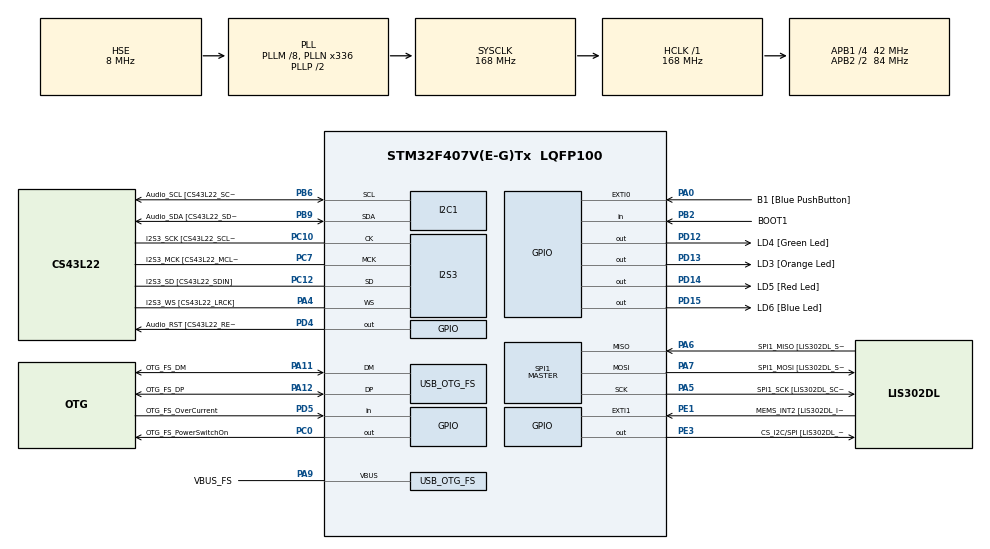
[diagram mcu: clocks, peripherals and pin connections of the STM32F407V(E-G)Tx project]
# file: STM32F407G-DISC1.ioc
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I2S3.AudioFreq-Half_Duplex_Master=I2S_AUDIOFREQ_96K
I2S3.ErrorAudioFreq=-2.34 %
I2S3.ErrorAudioFreq-Half_Duplex_Master=0.8 %
I2S3.FullDuplexMode=I2S_FULLDUPLEXMODE_DISABLE
I2S3.Instance=SPI$Index
I2S3.RealAudioFreq=93.75 KHz
I2S3.RealAudioFreq-Half_Duplex_Master=96.774 KHz
I2S3.VirtualMode=I2S_MODE_MASTER
Mcu.Family=STM32F4
Mcu.Name=STM32F407V(E-G)Tx
Mcu.Package=LQFP100
NVIC.OTG_FS_IRQn=true\:0\:0\:false\:false\:true\:true\:true\:true
NVIC.PriorityGroup=NVIC_PRIORITYGROUP_0
PA0-WKUP.GPIO_Label=B1 [Blue PushButton]
PA0-WKUP.GPIO_ModeDefaultEXTI=GPIO_MODE_EVT_RISING
PA0-WKUP.GPIO_PuPd=GPIO_NOPULL
PA0-WKUP.Signal=GPXTI0
PA10.GPIO_Label=OTG_FS_ID
PA10.GPIO_Mode=GPIO_MODE_AF_PP
PA10.GPIO_PuPd=GPIO_NOPULL
PA10.GPIO_Speed=GPIO_SPEED_FREQ_LOW
PA10.Signal=USB_OTG_FS_ID
PA11.GPIO_Label=OTG_FS_DM
PA11.GPIO_Mode=GPIO_MODE_AF_PP
PA11.GPIO_PuPd=GPIO_NOPULL
PA11.GPIO_Speed=GPIO_SPEED_FREQ_LOW
PA11.Mode=Device_Only
PA11.Signal=USB_OTG_FS_DM
PA12.GPIO_Label=OTG_FS_DP
PA12.GPIO_Mode=GPIO_MODE_AF_PP
PA12.GPIO_PuPd=GPIO_NOPULL
PA12.GPIO_Speed=GPIO_SPEED_FREQ_LOW
PA12.Mode=Device_Only
PA12.Signal=USB_OTG_FS_DP
PA13.GPIO_Label=SWDIO
PA13.Mode=Serial_Wire
PA13.Signal=SYS_JTMS-SWDIO
PA14.GPIO_Label=SWCLK
PA14.Mode=Serial_Wire
PA14.Signal=SYS_JTCK-SWCLK
PA4.GPIO_Label=I2S3_WS [CS43L22_LRCK]
PA4.GPIO_Mode=GPIO_MODE_AF_PP
PA4.GPIO_PuPd=GPIO_NOPULL
PA4.GPIO_Speed=GPIO_SPEED_FREQ_LOW
PA4.Mode=Half_Duplex_Master
PA4.Signal=I2S3_WS
PA5.GPIO_Label=SPI1_SCK [LIS302DL_SCL/SPC]
PA5.GPIO_Mode=GPIO_MODE_AF_PP
PA5.GPIO_PuPd=GPIO_NOPULL
PA5.GPIO_Speed=GPIO_SPEED_FREQ_LOW
PA5.Mode=Full_Duplex_Master
PA5.Signal=SPI1_SCK
PA6.GPIO_Label=SPI1_MISO [LIS302DL_SDO]
PA6.GPIO_Mode=GPIO_MODE_AF_PP
PA6.GPIO_PuPd=GPIO_NOPULL
PA6.GPIO_Speed=GPIO_SPEED_FREQ_LOW
PA6.Mode=Full_Duplex_Master
PA6.Signal=SPI1_MISO
PA7.GPIO_Label=SPI1_MOSI [LIS302DL_SDA/SDI/SDO]
PA7.GPIO_Mode=GPIO_MODE_AF_PP
PA7.GPIO_PuPd=GPIO_NOPULL
PA7.GPIO_Speed=GPIO_SPEED_FREQ_LOW
PA7.Mode=Full_Duplex_Master
PA7.Signal=SPI1_MOSI
PA9.GPIO_Label=VBUS_FS
PA9.GPIO_Mode=GPIO_MODE_INPUT
PA9.GPIO_PuPd=GPIO_NOPULL
PA9.Mode=Activate_VBUS
PA9.Signal=USB_OTG_FS_VBUS
PB10.GPIO_Label=CLK_IN [MP45DT02_CLK]
PB10.GPIO_Mode=GPIO_MODE_AF_PP
PB10.GPIO_PuPd=GPIO_NOPULL
PB10.GPIO_Speed=GPIO_SPEED_FREQ_LOW
PB10.Signal=I2S2_CK
PB2.GPIO_Label=BOOT1
PB2.GPIO_Mode=GPIO_MODE_INPUT
PB2.GPIO_PuPd=GPIO_NOPULL
PB2.Signal=GPIO_Input
PB3.GPIO_Label=SWO
PB3.Signal=SYS_JTDO-SWO
PB6.GPIO_Label=Audio_SCL [CS43L22_SCL]
PB6.GPIO_Mode=GPIO_MODE_AF_OD
PB6.GPIO_Pu=GPIO_PULLUP
PB6.GPIO_PuPd=GPIO_NOPULL
PB6.GPIO_Speed=GPIO_SPEED_FREQ_LOW
PB6.Mode=I2C
PB6.Signal=I2C1_SCL
PB9.GPIO_Label=Audio_SDA [CS43L22_SDA]
PB9.GPIO_Mode=GPIO_MODE_AF_OD
PB9.GPIO_Pu=GPIO_PULLUP
PB9.GPIO_PuPd=GPIO_NOPULL
PB9.GPIO_Speed=GPIO_SPEED_FREQ_LOW
PB9.Mode=I2C
PB9.Signal=I2C1_SDA
PC0.GPIO_Label=OTG_FS_PowerSwitchOn
PC0.GPIO_PuPd=GPIO_NOPULL
PC0.GPIO_Speed=GPIO_SPEED_FREQ_LOW
PC0.PinState=GPIO_PIN_SET
PC0.Signal=GPIO_Output
PC10.GPIO_Label=I2S3_SCK [CS43L22_SCLK]
PC10.GPIO_Mode=GPIO_MODE_AF_PP
PC10.GPIO_PuPd=GPIO_NOPULL
PC10.GPIO_Speed=GPIO_SPEED_FREQ_LOW
PC10.Mode=Half_Duplex_Master
PC10.Signal=I2S3_CK
PC12.GPIO_Label=I2S3_SD [CS43L22_SDIN]
PC12.GPIO_Mode=GPIO_MODE_AF_PP
PC12.GPIO_PuPd=GPIO_NOPULL
PC12.GPIO_Speed=GPIO_SPEED_FREQ_LOW
PC12.Mode=Half_Duplex_Master
PC12.Signal=I2S3_SD
PC14-OSC32_IN.GPIO_Label=PC14-OSC32_IN
PC14-OSC32_IN.Mode=LSE-External-Oscillator
PC14-OSC32_IN.Signal=RCC_OSC32_IN
PC15-OSC32_OUT.GPIO_Label=PC15-OSC32_OUT
PC15-OSC32_OUT.Mode=LSE-External-Oscillator
PC15-OSC32_OUT.Signal=RCC_OSC32_OUT
PC3.GPIO_Label=PDM_OUT [MP45DT02_DOUT]
PC3.GPIO_Mode=GPIO_MODE_AF_PP
PC3.GPIO_PuPd=GPIO_NOPULL
PC3.GPIO_Speed=GPIO_SPEED_FREQ_LOW
PC3.Signal=I2S2_SD
PC7.GPIO_Label=I2S3_MCK [CS43L22_MCLK]
PC7.GPIO_Mode=GPIO_MODE_AF_PP
PC7.GPIO_PuPd=GPIO_NOPULL
PC7.GPIO_Speed=GPIO_SPEED_FREQ_LOW
PC7.Mode=Master_Clock_Activated
PC7.Signal=I2S3_MCK
PD12.GPIO_Label=LD4 [Green Led]
PD12.GPIO_PuPd=GPIO_NOPULL
PD12.GPIO_Speed=GPIO_SPEED_FREQ_LOW
PD12.Signal=GPIO_Output
PD13.GPIO_Label=LD3 [Orange Led]
PD13.GPIO_PuPd=GPIO_NOPULL
PD13.GPIO_Speed=GPIO_SPEED_FREQ_LOW
PD13.Signal=GPIO_Output
PD14.GPIO_Label=LD5 [Red Led]
PD14.GPIO_PuPd=GPIO_NOPULL
PD14.GPIO_Speed=GPIO_SPEED_FREQ_LOW
PD14.Signal=GPIO_Output
PD15.GPIO_Label=LD6 [Blue Led]
PD15.GPIO_PuPd=GPIO_NOPULL
PD15.GPIO_Speed=GPIO_SPEED_FREQ_LOW
PD15.Signal=GPIO_Output
PD4.GPIO_Label=Audio_RST [CS43L22_RESET]
PD4.GPIO_PuPd=GPIO_NOPULL
PD4.GPIO_Speed=GPIO_SPEED_FREQ_LOW
PD4.Signal=GPIO_Output
PD5.GPIO_Label=OTG_FS_OverCurrent
PD5.GPIO_Mode=GPIO_MODE_INPUT
PD5.GPIO_PuPd=GPIO_NOPULL
PD5.Signal=GPIO_Input
PE1.GPIO_Label=MEMS_INT2 [LIS302DL_INT2]
PE1.GPIO_ModeDefaultEXTI=GPIO_MODE_EVT_RISING
PE1.GPIO_PuPd=GPIO_NOPULL
PE1.Signal=GPXTI1
PE3.GPIO_Label=CS_I2C/SPI [LIS302DL_CS_I2C/SPI]
PE3.GPIO_PuPd=GPIO_NOPULL
PE3.GPIO_Speed=GPIO_SPEED_FREQ_LOW
PE3.Signal=GPIO_Output
PH0-OSC_IN.GPIO_Label=PH0-OSC_IN
PH0-OSC_IN.Mode=HSE-External-Oscillator
PH0-OSC_IN.Signal=RCC_OSC_IN
PH1-OSC_OUT.GPIO_Label=PH1-OSC_OUT
PH1-OSC_OUT.Mode=HSE-External-Oscillator
PH1-OSC_OUT.Signal=RCC_OSC_OUT
ProjectManager.HeapSize=0x800
ProjectManager.StackSize=0x800
ProjectManager.TargetToolchain=STM32CubeIDE
RCC.48MHZClocksFreq_Value=48000000
RCC.AHBFreq_Value=168000000
RCC.APB1CLKDivider=RCC_HCLK_DIV4
RCC.APB1Freq_Value=42000000
RCC.APB1TimFreq_Value=84000000
RCC.APB2CLKDivider=RCC_HCLK_DIV2
RCC.APB2Freq_Value=84000000
RCC.APB2TimFreq_Value=168000000
RCC.CortexFreq_Value=168000000
RCC.HCLKFreq_Value=168000000
RCC.HSE_VALUE=8000000
RCC.HSI_VALUE=16000000
RCC.PLLM=8
RCC.PLLN=336
RCC.PLLQ=7
RCC.SYSCLKFreq_VALUE=168000000
RCC.SYSCLKSource=RCC_SYSCLKSOURCE_PLLCLK
RCC.VCOOutputFreq_Value=336000000
SPI1.BaudRatePrescaler-Full_Duplex_Master=SPI_BAUDRATEPRESCALER_2
SPI1.CalculateBaudRate-Full_Duplex_Master=42.0 MBits/s
SPI1.Direction=SPI_DIRECTION_2LINES
SPI1.Mode=SPI_MODE_MASTER
SPI1.Mode-Full_Duplex_Master=SPI_MODE_MASTER
SPI1.VirtualType=VM_MASTER
STMicroelectronics.X-CUBE-AI.10.2.0.ActivationBufferSizeList=13644
STMicroelectronics.X-CUBE-AI.10.2.0.ActivationBuffers=pool0
STMicroelectronics.X-CUBE-AI.10.2.0.ActivationNames=pool0
STMicroelectronics.X-CUBE-AI.10.2.0.ActivationSizes=AI_NETWORK_DATA_ACTIVATION_1_SIZE
STMicroelectronics.X-CUBE-AI.10.2.0.ApplicationCcDeviceJjApplication=ApplicationTemplate
STMicroelectronics.X-CUBE-AI.10.2.0.HeapSize=0x800
STMicroelectronics.X-CUBE-AI.10.2.0.InternalRamActivationBufferMaxSize=AI_NETWORK_DATA_ACTIVATIONS_SIZE
STMicroelectronics.X-CUBE-AI.10.2.0.LatestDirectoryUsed-3c5e1537dc4c7721583cbdc52182f0bd7a8b2e4c3dacaed0488b9b9b9975361b=C\:\\Users\\Ahmad\\Downloads
STMicroelectronics.X-CUBE-AI.10.2.0.MaximumNumberOfInputLayer=1
STMicroelectronics.X-CUBE-AI.10.2.0.MaximumNumberOfOutputLayer=1
STMicroelectronics.X-CUBE-AI.10.2.0.MaximumSizeOfInputLayer=1
STMicroelectronics.X-CUBE-AI.10.2.0.MaximumSizeOfOutputLayer=1
STMicroelectronics.X-CUBE-AI.10.2.0.ModelActualCompression-3c5e1537dc4c7721583cbdc52182f0bd7a8b2e4c3dacaed0488b9b9b9975361b=0.0
STMicroelectronics.X-CUBE-AI.10.2.0.ModelCompression-3c5e1537dc4c7721583cbdc52182f0bd7a8b2e4c3dacaed0488b9b9b9975361b=None
STMicroelectronics.X-CUBE-AI.10.2.0.ModelFlashOccupation-3c5e1537dc4c7721583cbdc52182f0bd7a8b2e4c3dacaed0488b9b9b9975361b=95368
STMicroelectronics.X-CUBE-AI.10.2.0.ModelHashList=3c5e1537dc4c7721583cbdc52182f0bd7a8b2e4c3dacaed0488b9b9b9975361b
STMicroelectronics.X-CUBE-AI.10.2.0.ModelKind-3c5e1537dc4c7721583cbdc52182f0bd7a8b2e4c3dacaed0488b9b9b9975361b=TFLITE
STMicroelectronics.X-CUBE-AI.10.2.0.ModelMacc-3c5e1537dc4c7721583cbdc52182f0bd7a8b2e4c3dacaed0488b9b9b9975361b=101572
STMicroelectronics.X-CUBE-AI.10.2.0.ModelName-3c5e1537dc4c7721583cbdc52182f0bd7a8b2e4c3dacaed0488b9b9b9975361b=network
STMicroelectronics.X-CUBE-AI.10.2.0.ModelRamOccupation-3c5e1537dc4c7721583cbdc52182f0bd7a8b2e4c3dacaed0488b9b9b9975361b=13644
STMicroelectronics.X-CUBE-AI.10.2.0.ModelStructureFile-3c5e1537dc4c7721583cbdc52182f0bd7a8b2e4c3dacaed0488b9b9b9975361b=C\:\\Users\\Ahmad\\Downloads\\MNIST_model_no_optimizations.tflite
STMicroelectronics.X-CUBE-AI.10.2.0.ModelType-3c5e1537dc4c7721583cbdc52182f0bd7a8b2e4c3dacaed0488b9b9b9975361b=STM32Cube.AI MCU runtime
STMicroelectronics.X-CUBE-AI.10.2.0.ReadyForCodeGeneration=true
STMicroelectronics.X-CUBE-AI.10.2.0.StackSize=0x800
STMicroelectronics.X-CUBE-AI.10.2.0.XAaCUBEAaAICcArtificialOoIntelligenceJjCore=true
STMicroelectronics.X-CUBE-AI.10.2.0.copyWeightToRam=false
STMicroelectronics.X-CUBE-AI.10.2.0.customLayerConfigEnabled=false
STMicroelectronics.X-CUBE-AI.10.2.0.noOnnxIoTranspose=false
STMicroelectronics.X-CUBE-AI.10.2.0.useInputAllocation=true
STMicroelectronics.X-CUBE-AI.10.2.0.useOutputAllocation=true
USB_DEVICE.CLASS_NAME_FS=CDC
USB_DEVICE.VirtualMode-CDC_FS=Cdc
USB_DEVICE.VirtualModeFS=Cdc_FS
USB_OTG_FS.VirtualMode=Device_Only
VP_STMicroelectronics.X-CUBE-AI_VS_ArtificialOoIntelligenceJjXAaCUBEAaAI_10.2.0.Mode=ArtificialOoIntelligenceJjXAaCUBEAaAI
VP_STMicroelectronics.X-CUBE-AI_VS_DeviceJjApplication_10.2.0.Mode=DeviceJjApplication
VP_USB_DEVICE_VS_USB_DEVICE_CDC_FS.Mode=CDC_FS
board=STM32F407G-DISC1

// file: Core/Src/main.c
/* USER CODE BEGIN Header */
/**
  ******************************************************************************
  * @file           : main.c
  * @brief          : Main program body
  ******************************************************************************
  * @attention
  *
  * Copyright (c) 2026 STMicroelectronics.
  * All rights reserved.
  *
  * This software is licensed under terms that can be found in the LICENSE file
  * in the root directory of this software component.
  * If no LICENSE file comes with this software, it is provided AS-IS.
  *
  ******************************************************************************
  */
/* USER CODE END Header */
#include "main.h"
#include "app_x-cube-ai.h"
#include "usb_device.h"

/* USER CODE BEGIN Includes */
#include "usb_cdc_handler.hpp"
/* USER CODE END Includes */

I2C_HandleTypeDef hi2c1;

I2S_HandleTypeDef hi2s3;

SPI_HandleTypeDef hspi1;

/* USER CODE BEGIN PV */
volatile bool jump = false;
/* USER CODE END PV */

void SystemClock_Config(void);
static void MX_GPIO_Init(void);
static void MX_I2C1_Init(void);
static void MX_I2S3_Init(void);
static void MX_SPI1_Init(void);

int main(void)
{

  /* MCU Configuration--------------------------------------------------------*/

  /* Reset of all peripherals, Initializes the Flash interface and the Systick. */
  HAL_Init();

  /* Configure the system clock */
  SystemClock_Config();

  /* Initialize all configured peripherals */
  MX_GPIO_Init();
  MX_I2C1_Init();
  MX_I2S3_Init();
  MX_SPI1_Init();
  MX_USB_DEVICE_Init();
  MX_X_CUBE_AI_Init();
  /* USER CODE BEGIN 2 */
  CDC_Proto_Init();

//TODO: Edit handshake logic
  HAL_Delay(5000); //TODO:  Solve the problem of starting the Handshake sooner than  real I/O handshake in master mode
  // Maybe only the host should start the handshake??
  int i = 0;
  CDC_Status_t rc = CDC_OK;
for (i = 0; i < 10; i++) {
	if (jumpRequested) {
		jumpRequested = false;
		CDC_JumpToBootloader();
	}
#ifdef CDC_MASTER_MODE
  rc = CDC_SendHandshake();

#elif defined(CDC_SLAVE_MODE)
  rc = CDC_WaitForHandshake();
#endif
  if (rc == CDC_ERR_TMO)	continue;
  else   break;
}
//TODO: Check
if (i >= 10 || rc != CDC_OK) {
	while (1) {
		HAL_GPIO_TogglePin(GPIOD, GPIO_PIN_12);
		HAL_Delay(500);
	}
}
  CDC_SendDebugString("[APP] STM32F407 CDC data client ready.");
  /* USER CODE END 2 */

  /* Infinite loop */
  /* USER CODE BEGIN WHILE */
  while (1)
  {
	  //TODO: edit jump logic
	  if (jumpRequested) {
		  jumpRequested = false;
		  CDC_JumpToBootloader();
	  }
	  if (end_of_inference) {
			 HAL_GPIO_TogglePin(GPIOD, GPIO_PIN_13);
			 HAL_Delay(500);
			 continue;
	  }
    /* USER CODE END WHILE */

  MX_X_CUBE_AI_Process();
  }
}

void SystemClock_Config(void)
{
  RCC_OscInitTypeDef RCC_OscInitStruct = {0};
  RCC_ClkInitTypeDef RCC_ClkInitStruct = {0};

  /** Configure the main internal regulator output voltage
  */
  __HAL_RCC_PWR_CLK_ENABLE();
  __HAL_PWR_VOLTAGESCALING_CONFIG(PWR_REGULATOR_VOLTAGE_SCALE1);

  /** Initializes the RCC Oscillators according to the specified parameters
  * in the RCC_OscInitTypeDef structure.
  */
  RCC_OscInitStruct.OscillatorType = RCC_OSCILLATORTYPE_HSE;
  RCC_OscInitStruct.HSEState = RCC_HSE_ON;
  RCC_OscInitStruct.PLL.PLLState = RCC_PLL_ON;
  RCC_OscInitStruct.PLL.PLLSource = RCC_PLLSOURCE_HSE;
  RCC_OscInitStruct.PLL.PLLM = 8;
  RCC_OscInitStruct.PLL.PLLN = 336;
  RCC_OscInitStruct.PLL.PLLP = RCC_PLLP_DIV2;
  RCC_OscInitStruct.PLL.PLLQ = 7;
  if (HAL_RCC_OscConfig(&RCC_OscInitStruct) != HAL_OK)
  {
    Error_Handler();
  }

  /** Initializes the CPU, AHB and APB buses clocks
  */
  RCC_ClkInitStruct.ClockType = RCC_CLOCKTYPE_HCLK|RCC_CLOCKTYPE_SYSCLK
                              |RCC_CLOCKTYPE_PCLK1|RCC_CLOCKTYPE_PCLK2;
  RCC_ClkInitStruct.SYSCLKSource = RCC_SYSCLKSOURCE_PLLCLK;
  RCC_ClkInitStruct.AHBCLKDivider = RCC_SYSCLK_DIV1;
  RCC_ClkInitStruct.APB1CLKDivider = RCC_HCLK_DIV4;
  RCC_ClkInitStruct.APB2CLKDivider = RCC_HCLK_DIV2;

  if (HAL_RCC_ClockConfig(&RCC_ClkInitStruct, FLASH_LATENCY_5) != HAL_OK)
  {
    Error_Handler();
  }
}

static void MX_I2C1_Init(void)
{

  hi2c1.Instance = I2C1;
  hi2c1.Init.ClockSpeed = 100000;
  hi2c1.Init.DutyCycle = I2C_DUTYCYCLE_2;
  hi2c1.Init.OwnAddress1 = 0;
  hi2c1.Init.AddressingMode = I2C_ADDRESSINGMODE_7BIT;
  hi2c1.Init.DualAddressMode = I2C_DUALADDRESS_DISABLE;
  hi2c1.Init.OwnAddress2 = 0;
  hi2c1.Init.GeneralCallMode = I2C_GENERALCALL_DISABLE;
  hi2c1.Init.NoStretchMode = I2C_NOSTRETCH_DISABLE;
  if (HAL_I2C_Init(&hi2c1) != HAL_OK)
  {
    Error_Handler();
  }

}

static void MX_I2S3_Init(void)
{

  hi2s3.Instance = SPI3;
  hi2s3.Init.Mode = I2S_MODE_MASTER_TX;
  hi2s3.Init.Standard = I2S_STANDARD_PHILIPS;
  hi2s3.Init.DataFormat = I2S_DATAFORMAT_16B;
  hi2s3.Init.MCLKOutput = I2S_MCLKOUTPUT_ENABLE;
  hi2s3.Init.AudioFreq = I2S_AUDIOFREQ_96K;
  hi2s3.Init.CPOL = I2S_CPOL_LOW;
  hi2s3.Init.ClockSource = I2S_CLOCK_PLL;
  hi2s3.Init.FullDuplexMode = I2S_FULLDUPLEXMODE_DISABLE;
  if (HAL_I2S_Init(&hi2s3) != HAL_OK)
  {
    Error_Handler();
  }

}

static void MX_SPI1_Init(void)
{

  /* SPI1 parameter configuration*/
  hspi1.Instance = SPI1;
  hspi1.Init.Mode = SPI_MODE_MASTER;
  hspi1.Init.Direction = SPI_DIRECTION_2LINES;
  hspi1.Init.DataSize = SPI_DATASIZE_8BIT;
  hspi1.Init.CLKPolarity = SPI_POLARITY_LOW;
  hspi1.Init.CLKPhase = SPI_PHASE_1EDGE;
  hspi1.Init.NSS = SPI_NSS_SOFT;
  hspi1.Init.BaudRatePrescaler = SPI_BAUDRATEPRESCALER_2;
  hspi1.Init.FirstBit = SPI_FIRSTBIT_MSB;
  hspi1.Init.TIMode = SPI_TIMODE_DISABLE;
  hspi1.Init.CRCCalculation = SPI_CRCCALCULATION_DISABLE;
  hspi1.Init.CRCPolynomial = 10;
  if (HAL_SPI_Init(&hspi1) != HAL_OK)
  {
    Error_Handler();
  }

}

static void MX_GPIO_Init(void)
{
  GPIO_InitTypeDef GPIO_InitStruct = {0};

  /* GPIO Ports Clock Enable */
  __HAL_RCC_GPIOE_CLK_ENABLE();
  __HAL_RCC_GPIOC_CLK_ENABLE();
  __HAL_RCC_GPIOH_CLK_ENABLE();
  __HAL_RCC_GPIOA_CLK_ENABLE();
  __HAL_RCC_GPIOB_CLK_ENABLE();
  __HAL_RCC_GPIOD_CLK_ENABLE();

  /*Configure GPIO pin Output Level */
  HAL_GPIO_WritePin(CS_I2C_SPI_GPIO_Port, CS_I2C_SPI_Pin, GPIO_PIN_RESET);

  /*Configure GPIO pin Output Level */
  HAL_GPIO_WritePin(OTG_FS_PowerSwitchOn_GPIO_Port, OTG_FS_PowerSwitchOn_Pin, GPIO_PIN_SET);

  /*Configure GPIO pin Output Level */
  HAL_GPIO_WritePin(GPIOD, LD4_Pin|LD3_Pin|LD5_Pin|LD6_Pin
                          |Audio_RST_Pin, GPIO_PIN_RESET);

  /*Configure GPIO pin : CS_I2C_SPI_Pin */
  GPIO_InitStruct.Pin = CS_I2C_SPI_Pin;
  GPIO_InitStruct.Mode = GPIO_MODE_OUTPUT_PP;
  GPIO_InitStruct.Pull = GPIO_NOPULL;
  GPIO_InitStruct.Speed = GPIO_SPEED_FREQ_LOW;
  HAL_GPIO_Init(CS_I2C_SPI_GPIO_Port, &GPIO_InitStruct);

  /*Configure GPIO pin : OTG_FS_PowerSwitchOn_Pin */
  GPIO_InitStruct.Pin = OTG_FS_PowerSwitchOn_Pin;
  GPIO_InitStruct.Mode = GPIO_MODE_OUTPUT_PP;
  GPIO_InitStruct.Pull = GPIO_NOPULL;
  GPIO_InitStruct.Speed = GPIO_SPEED_FREQ_LOW;
  HAL_GPIO_Init(OTG_FS_PowerSwitchOn_GPIO_Port, &GPIO_InitStruct);

  /*Configure GPIO pin : PDM_OUT_Pin */
  GPIO_InitStruct.Pin = PDM_OUT_Pin;
  GPIO_InitStruct.Mode = GPIO_MODE_AF_PP;
  GPIO_InitStruct.Pull = GPIO_NOPULL;
  GPIO_InitStruct.Speed = GPIO_SPEED_FREQ_LOW;
  GPIO_InitStruct.Alternate = GPIO_AF5_SPI2;
  HAL_GPIO_Init(PDM_OUT_GPIO_Port, &GPIO_InitStruct);

  /*Configure GPIO pin : B1_Pin */
  GPIO_InitStruct.Pin = B1_Pin;
  GPIO_InitStruct.Mode = GPIO_MODE_EVT_RISING;
  GPIO_InitStruct.Pull = GPIO_NOPULL;
  HAL_GPIO_Init(B1_GPIO_Port, &GPIO_InitStruct);

  /*Configure GPIO pin : BOOT1_Pin */
  GPIO_InitStruct.Pin = BOOT1_Pin;
  GPIO_InitStruct.Mode = GPIO_MODE_INPUT;
  GPIO_InitStruct.Pull = GPIO_NOPULL;
  HAL_GPIO_Init(BOOT1_GPIO_Port, &GPIO_InitStruct);

  /*Configure GPIO pin : CLK_IN_Pin */
  GPIO_InitStruct.Pin = CLK_IN_Pin;
  GPIO_InitStruct.Mode = GPIO_MODE_AF_PP;
  GPIO_InitStruct.Pull = GPIO_NOPULL;
  GPIO_InitStruct.Speed = GPIO_SPEED_FREQ_LOW;
  GPIO_InitStruct.Alternate = GPIO_AF5_SPI2;
  HAL_GPIO_Init(CLK_IN_GPIO_Port, &GPIO_InitStruct);

  /*Configure GPIO pins : LD4_Pin LD3_Pin LD5_Pin LD6_Pin
                           Audio_RST_Pin */
  GPIO_InitStruct.Pin = LD4_Pin|LD3_Pin|LD5_Pin|LD6_Pin
                          |Audio_RST_Pin;
  GPIO_InitStruct.Mode = GPIO_MODE_OUTPUT_PP;
  GPIO_InitStruct.Pull = GPIO_NOPULL;
  GPIO_InitStruct.Speed = GPIO_SPEED_FREQ_LOW;
  HAL_GPIO_Init(GPIOD, &GPIO_InitStruct);

  /*Configure GPIO pin : OTG_FS_OverCurrent_Pin */
  GPIO_InitStruct.Pin = OTG_FS_OverCurrent_Pin;
  GPIO_InitStruct.Mode = GPIO_MODE_INPUT;
  GPIO_InitStruct.Pull = GPIO_NOPULL;
  HAL_GPIO_Init(OTG_FS_OverCurrent_GPIO_Port, &GPIO_InitStruct);

  /*Configure GPIO pin : MEMS_INT2_Pin */
  GPIO_InitStruct.Pin = MEMS_INT2_Pin;
  GPIO_InitStruct.Mode = GPIO_MODE_EVT_RISING;
  GPIO_InitStruct.Pull = GPIO_NOPULL;
  HAL_GPIO_Init(MEMS_INT2_GPIO_Port, &GPIO_InitStruct);

}

void Error_Handler(void)
{
  __disable_irq();
  while (1)
  {
  }
}
